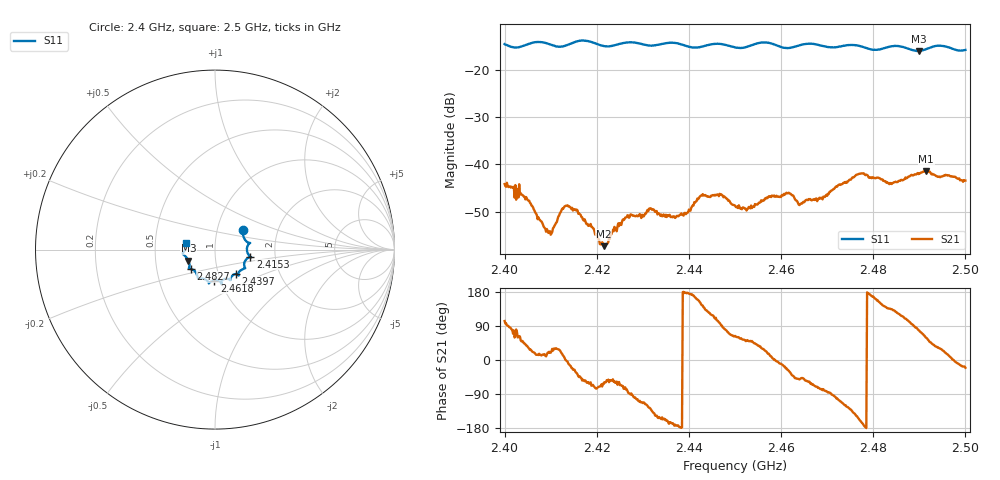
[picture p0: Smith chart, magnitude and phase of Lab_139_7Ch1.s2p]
# Hz S RI R 50
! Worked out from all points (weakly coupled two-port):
!   601 points, 2.4 GHz to 2.5 GHz, reference 50 ohm
!   highest |S21| = -41.41 dB at 2.4915 GHz (marker M1); lowest = -57.4 dB at 2.4215 GHz (marker M2)
!   lowest |S11| = -15.9 dB at 2.4898 GHz (marker M3), VSWR 1.38, Z = 36.9 - j4.64 ohm
!   |S11| at or under -10 dB: start of sweep to end of sweep
!   S12 and S22 are empty: the file has one direction only
!   S11 on the Smith chart (normalised r, x): 2.4 GHz: 1.33, +0.30; 2.4153 GHz: 1.48, -0.12; 2.4397 GHz: 1.21, -0.34; 2.4618 GHz: 0.94, -0.33; 2.4827 GHz: 0.75, -0.17; 2.5 GHz: 0.72, +0.06
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2.4e9  0.1558 0.1075  -0.00137 0.00603  0 0  0 0
2.405167e9  0.1858 0.0383  0.0035 0.00222  0 0  0 0
2.409833e9  0.186 0.0278  0.00185 0.000646  0 0  0 0
2.413e9  0.1803 -0.0148  0.00357 0.000375  0 0  0 0
2.415333e9  0.1961 -0.039  0.00288 -0.00168  0 0  0 0
2.416667e9  0.2021 -0.043  0.00185 -0.00206  0 0  0 0
2.4215e9  0.1708 -0.0586  0.000607 -0.00121  0 0  0 0
2.426333e9  0.1677 -0.1022  0.000576 -0.00268  0 0  0 0
2.433333e9  0.1301 -0.134  -0.00271 -0.00137  0 0  0 0
2.439667e9  0.117 -0.1359  -0.00308 0.000132  0 0  0 0
2.443e9  0.0892 -0.155  -0.0039 0.00287  0 0  0 0
2.447167e9  0.0838 -0.1696  -5.78e-05 0.00472  0 0  0 0
2.45e9  0.0645 -0.1625  0.00162 0.00327  0 0  0 0
2.461833e9  -0.00343 -0.1723  0.00422 -0.00252  0 0  0 0
2.464167e9  -0.0291 -0.1827  0.00247 -0.00289  0 0  0 0
2.466667e9  -0.0346 -0.1878  0.0018 -0.00375  0 0  0 0
2.477e9  -0.097 -0.1531  -0.00738 -0.00302  0 0  0 0
2.482667e9  -0.1349 -0.1083  -0.00511 0.00424  0 0  0 0
2.483333e9  -0.1399 -0.1079  -0.00448 0.00436  0 0  0 0
2.489833e9  -0.1478 -0.0613  0.00153 0.00775  0 0  0 0
2.4915e9  -0.1627 -0.0396  0.00443 0.00725  0 0  0 0
2.5e9  -0.1594 0.0388  0.00631 -0.00236  0 0  0 0
